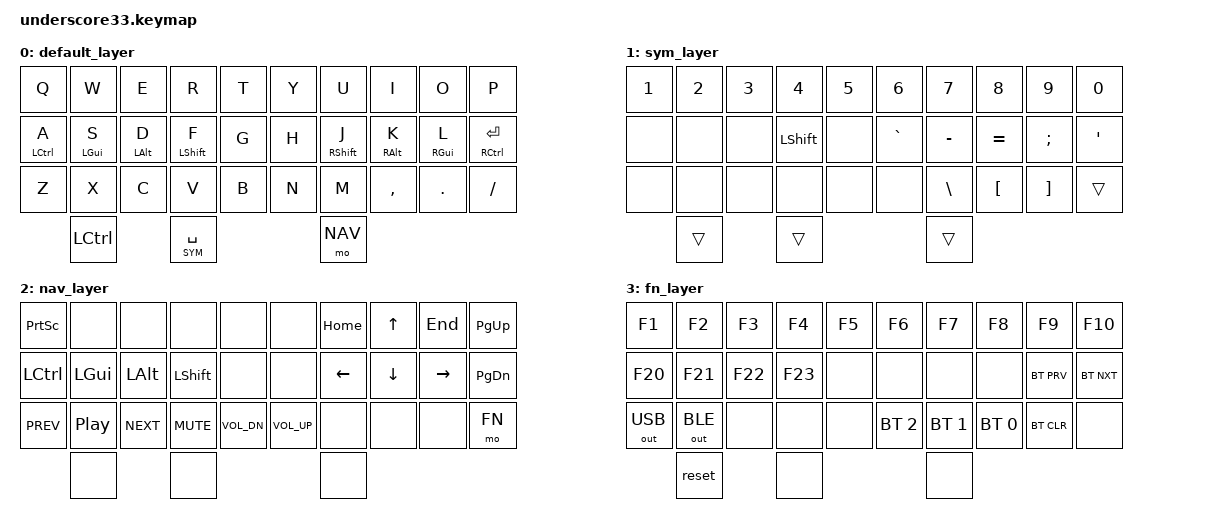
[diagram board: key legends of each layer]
/*
 * Copyright (c) 2020 The ZMK Contributors
 *
 * SPDX-License-Identifier: MIT
 */

// This key-map file WILL NOT WORK FOR YOU, you will need to modify it. I really do not recommend adapting to it.
// This key-map file is set-up to be the full space layout.
// I strongly urge you to customise your firmware to suit your usage.
// Please feel free to join the ZMK server at https://discord.gg/TdRMQaTYdF for help.

#include <behaviors.dtsi>
#include <dt-bindings/zmk/keys.h>
#include <dt-bindings/zmk/bt.h>
#include <dt-bindings/zmk/outputs.h>


#define DEFAULT 0
#define SYM     1
#define NAV     2
#define FN      3

/ {
    behaviors {
        hm: homerow_mods {
            compatible = "zmk,behavior-hold-tap";
            label = "HOMEROW_MODS";
            #binding-cells = <2>;
            tapping_term_ms = <225>;
            flavor = "tap-preferred";
            bindings = <&kp>, <&kp>;
        };
    };
};

/ {
    combos {
        compatible = "zmk,combos";
        combo_del {
            timeout-ms = <50>;
            key-positions = <7 8>;
            bindings = <&kp DEL>;
        };
        combo_bspc {
            timeout-ms = <50>;
            key-positions = <8 9>;
            bindings = <&kp BKSP>;
        };
        combo_tab {
            timeout-ms = <50>;
            key-positions = <0 1>;
            bindings = <&kp TAB>;
        };
        combo_esc {
            timeout-ms = <50>;
            key-positions = <1 2>;
            bindings = <&kp ESC>;
        };
    };
};

/{
    keymap {
        compatible = "zmk,keymap";
        default_layer {
            bindings = <
                &kp Q       &kp W      &kp E       &kp R       &kp T  &kp Y  &kp U       &kp I      &kp O      &kp P
                &hm LCTRL A &hm LGUI S &hm LALT D  &hm LSHFT F &kp G  &kp H  &hm RSHFT J &hm RALT K &hm RGUI L &hm RCTRL RET
                &kp Z       &kp X      &kp C       &kp V       &kp B  &kp N  &kp M       &kp COMMA  &kp DOT    &kp FSLH
                           &kp LCTRL              &lt SYM SPC               &mo NAV    
            >;
        };

        sym_layer {
            bindings = <
                &kp N1    &kp N2    &kp N3    &kp N4      &kp N5      &kp N6    &kp N7    &kp N8    &kp N9     &kp N0
                &none     &none     &none    &kp LSHFT    &none       &kp GRAVE &kp MINUS &kp EQUAL &kp SEMI   &kp SQT
                &none     &none     &none    &none        &none       &none     &kp BSLH  &kp LBKT  &kp RBKT   &trans
                &trans    &trans    &trans
            >;
        };
        
        nav_layer {
            bindings = <
                &kp PSCRN   &none     &none         &none        &none         &none        &kp HOME      &kp UP        &kp END     &kp PG_UP
                &kp LCTRL   &kp LGUI  &kp LALT      &kp LSHFT    &none         &none        &kp LEFT      &kp DOWN      &kp RIGHT   &kp PG_DN
                &kp C_PREV  &kp C_PP  &kp C_NEXT    &kp K_MUTE   &kp C_VOL_DN  &kp C_VOL_UP &none         &none         &none       &mo FN
                &none      &none      &none
            >;
       };
                
       fn_layer {
            bindings = <
                &kp F1        &kp F2       &kp F3   &kp F4   &kp F5  &kp F6       &kp F7       &kp F8       &kp F9      &kp F10
                &kp F20       &kp F21      &kp F22  &kp F23  &none   &none        &none        &none        &bt BT_PRV  &bt BT_NXT 
                &out OUT_USB  &out OUT_BLE &none    &none    &none   &bt BT_SEL 2 &bt BT_SEL 1 &bt BT_SEL 0 &bt BT_CLR  &none
                &reset      &none      &none
            >;
       };
    };
};
